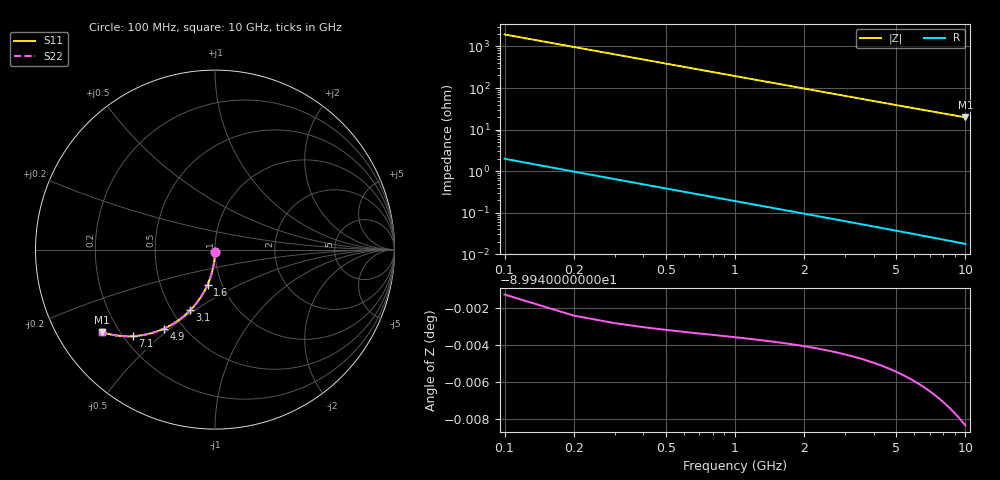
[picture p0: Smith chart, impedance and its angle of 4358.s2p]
# Hz S RI R 50.00
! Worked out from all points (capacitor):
!   100 points, 100 MHz to 10 GHz, reference 50 ohm
!   read as one part in shunt: C = 821 fF near 100 MHz
!   lowest |Z| = 19.7 ohm at 10 GHz (marker M1)
!   S11 on the Smith chart (normalised r, x): 100 MHz: 1.00, -0.03; 1.6 GHz: 0.86, -0.35; 3.1 GHz: 0.61, -0.48; 4.9 GHz: 0.39, -0.48; 7.1 GHz: 0.24, -0.41; 10 GHz: 0.14, -0.32
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1e8  -0.000112 -0.0127  0.9998 -0.0131  0.9998 -0.0131  -0.000112 -0.0127
2e8  -0.000623 -0.0253  0.9992 -0.0262  0.9992 -0.0262  -0.000623 -0.0253
3e8  -0.00146 -0.038  0.9984 -0.0393  0.9984 -0.0393  -0.00146 -0.038
4e8  -0.00264 -0.0506  0.9972 -0.0523  0.9972 -0.0523  -0.00264 -0.0506
5e8  -0.00413 -0.0631  0.9957 -0.0653  0.9957 -0.0653  -0.00413 -0.0631
6e8  -0.00596 -0.0756  0.9939 -0.0782  0.9939 -0.0782  -0.00596 -0.0756
7e8  -0.0081 -0.088  0.9918 -0.091  0.9918 -0.091  -0.0081 -0.088
9e8  -0.0133 -0.1126  0.9865 -0.1164  0.9865 -0.1164  -0.0133 -0.1126
1.2e9  -0.0235 -0.1486  0.9764 -0.1537  0.9764 -0.1537  -0.0235 -0.1486
1.6e9  -0.041 -0.1945  0.9589 -0.2014  0.9589 -0.2014  -0.041 -0.1945
1.8e9  -0.0513 -0.2164  0.9485 -0.2241  0.9485 -0.2241  -0.0513 -0.2164
2.4e9  -0.0877 -0.2774  0.9121 -0.2877  0.9121 -0.2877  -0.0877 -0.2774
3.1e9  -0.1383 -0.3381  0.8615 -0.3515  0.8615 -0.3515  -0.1383 -0.3381
3.4e9  -0.1618 -0.3606  0.8379 -0.3753  0.8379 -0.3753  -0.1618 -0.3606
4.1e9  -0.2194 -0.4046  0.7803 -0.4223  0.7803 -0.4223  -0.2194 -0.4046
4.9e9  -0.2867 -0.4412  0.7129 -0.4624  0.7129 -0.4624  -0.2867 -0.4412
5.1e9  -0.3034 -0.4483  0.6962 -0.4704  0.6962 -0.4704  -0.3034 -0.4483
5.9e9  -0.3686 -0.4692  0.6309 -0.4948  0.6309 -0.4948  -0.3686 -0.4692
6.7e9  -0.43 -0.48  0.5694 -0.5092  0.5694 -0.5092  -0.43 -0.48
7.1e9  -0.4589 -0.4823  0.5405 -0.5133  0.5405 -0.5133  -0.4589 -0.4823
8.4e9  -0.5436 -0.4791  0.4556 -0.516  0.4556 -0.516  -0.5436 -0.4791
1e10  -0.6291 -0.4603  0.3697 -0.5045  0.3697 -0.5045  -0.6291 -0.4603
